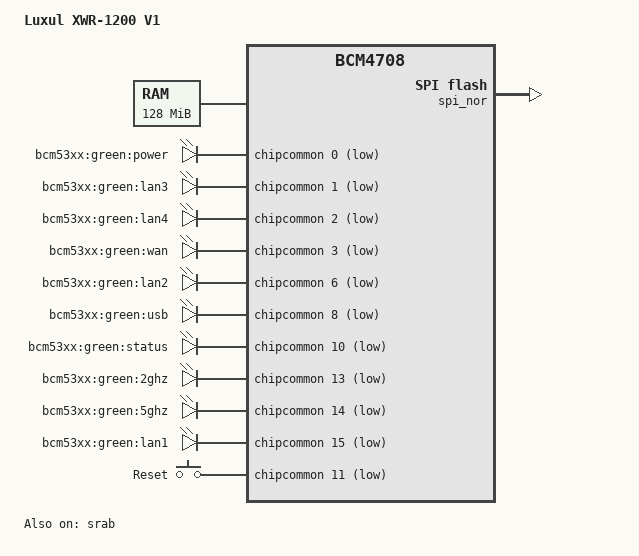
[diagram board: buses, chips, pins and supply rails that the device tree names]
// SPDX-License-Identifier: GPL-2.0-or-later OR MIT
/*
 * Copyright 2017 Luxul Inc.
 */

/dts-v1/;

#include "bcm47081.dtsi"
#include "bcm5301x-nand-cs0-bch4.dtsi"

/ {
	compatible = "luxul,xwr-1200-v1", "brcm,bcm47081", "brcm,bcm4708";
	model = "Luxul XWR-1200 V1";

	chosen {
		bootargs = "console=ttyS0,115200";
	};

	memory@0 {
		device_type = "memory";
		reg = <0x00000000 0x08000000>;
	};

	nvram@1eff0000 {
		compatible = "brcm,nvram";
		reg = <0x1eff0000 0x10000>;

		et0macaddr: et0macaddr {
			#nvmem-cell-cells = <1>;
		};
	};

	leds {
		compatible = "gpio-leds";

		led-power {
			label = "bcm53xx:green:power";
			gpios = <&chipcommon 0 GPIO_ACTIVE_LOW>;
			linux,default-trigger = "default-on";
		};

		led-lan3 {
			label = "bcm53xx:green:lan3";
			gpios = <&chipcommon 1 GPIO_ACTIVE_LOW>;
			linux,default-trigger = "none";
		};

		led-lan4 {
			label = "bcm53xx:green:lan4";
			gpios = <&chipcommon 2 GPIO_ACTIVE_LOW>;
			linux,default-trigger = "none";
		};

		led-wan {
			label = "bcm53xx:green:wan";
			gpios = <&chipcommon 3 GPIO_ACTIVE_LOW>;
			linux,default-trigger = "none";
		};

		led-lan2 {
			label = "bcm53xx:green:lan2";
			gpios = <&chipcommon 6 GPIO_ACTIVE_LOW>;
			linux,default-trigger = "none";
		};

		led-usb {
			label = "bcm53xx:green:usb";
			gpios = <&chipcommon 8 GPIO_ACTIVE_LOW>;
			trigger-sources = <&ohci_port2>, <&ehci_port2>;
			linux,default-trigger = "usbport";
		};

		led-status {
			label = "bcm53xx:green:status";
			gpios = <&chipcommon 10 GPIO_ACTIVE_LOW>;
			linux,default-trigger = "timer";
		};

		led-2ghz {
			label = "bcm53xx:green:2ghz";
			gpios = <&chipcommon 13 GPIO_ACTIVE_LOW>;
			linux,default-trigger = "none";
		};

		led-5ghz {
			label = "bcm53xx:green:5ghz";
			gpios = <&chipcommon 14 GPIO_ACTIVE_LOW>;
			linux,default-trigger = "none";
		};

		led-lan1 {
			label = "bcm53xx:green:lan1";
			gpios = <&chipcommon 15 GPIO_ACTIVE_LOW>;
			linux,default-trigger = "none";
		};
	};

	gpio-keys {
		compatible = "gpio-keys";

		button-restart {
			label = "Reset";
			linux,code = <KEY_RESTART>;
			gpios = <&chipcommon 11 GPIO_ACTIVE_LOW>;
		};
	};
};

&usb2 {
	vcc-gpio = <&chipcommon 9 GPIO_ACTIVE_HIGH>;
};

&gmac0 {
	nvmem-cells = <&et0macaddr 0>;
	nvmem-cell-names = "mac-address";
};

&spi_nor {
	status = "okay";
};

&srab {
	status = "okay";

	ports {
		port@0 {
			label = "lan4";
		};

		port@1 {
			label = "lan3";
		};

		port@2 {
			label = "lan2";
		};

		port@3 {
			label = "lan1";
		};

		port@4 {
			label = "wan";
			nvmem-cells = <&et0macaddr 5>;
			nvmem-cell-names = "mac-address";
		};

		port@5 {
			label = "cpu";
		};
	};
};
